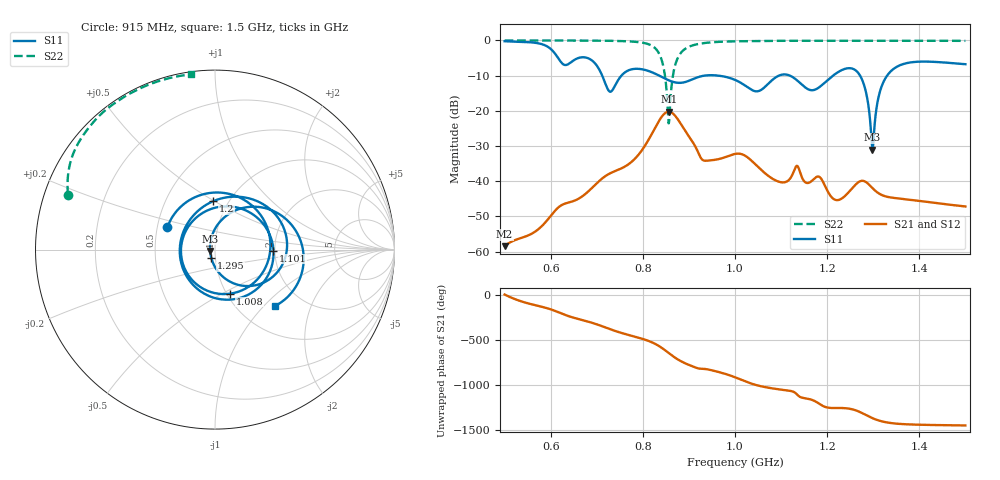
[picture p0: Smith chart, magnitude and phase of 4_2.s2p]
! TOUCHSTONE file generated by CST MICROWAVE STUDIO
! Date and time: Mon Nov 30 09:06:00 2020
! Project name: Scenario_1_Planar_Body_Tissue_Out_of_Line_v2.cst
! Parameters = {dy1=-294.1; L_HA=400; Ltissue=700; MT=2.54; Rad_Dielectric=30; Rad_Lower=7.3; Rad_Upper=30; Wtissue=700; a_HA=580; a_WG=246; b_HA=500; b_WG=121; c_HA=0; c_WG=187; d_feed=85; dx1=346; h_feed=15; h_lower=18; h_upper=40; hfat=3; hgap=25; hmuscle=50; hskin=1.5}
! Header version: 2018
! Port assignment regex: !\s*Touchstone port\s*([0-9]+)\s*=\s*(CST MWS port|CST DS port)\s*([0-9]+|Zmin|Zmax)\s*\(\"(.*)\"\)(\s*mode\s*([0-9]+))?.*
! Touchstone port assignment:
! Touchstone port 1 = CST MWS port 1 ("")
! Touchstone port 2 = CST MWS port 2 ("")
# GHz S DB R 50
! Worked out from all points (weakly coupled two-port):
!   1003 points, 500 MHz to 1.5 GHz, reference 50 ohm
!   highest |S21| = -20.25 dB at 856 MHz (marker M1); lowest = -58.4 dB at 500 MHz (marker M2)
!   lowest |S11| = -31.0 dB at 1.298 GHz (marker M3), VSWR 1.06, Z = 47.4 - j0.671 ohm
!   |S11| at or under -10 dB: 835.5 MHz to 933.6 MHz (98.11 MHz wide, 11.1 % of centre); 963.9 MHz to 1.095 GHz (131.2 MHz wide, 12.7 % of centre); 1.119 GHz to 1.213 GHz (93.51 MHz wide, 8.02 % of centre) (the widest 3 of 5)
!   |S22| runs from -23.6 to 0.0 dB; largest |S21 - S12| = 1.3e-05
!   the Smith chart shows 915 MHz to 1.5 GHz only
!   S11 on the Smith chart (normalised r, x): 915 MHz: 0.57, +0.16; 1.008 GHz: 1.04, -0.55; 1.101 GHz: 1.97, -0.03; 1.2 GHz: 0.85, +0.49; 1.295 GHz: 0.96, -0.09; 1.5 GHz: 1.46, -1.16
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0.5  -0.23 -121.8  -58.44 2.2  -58.44 2.2  -0.01 151.1
0.578  -0.96 -165.1  -53.09 -130.7  -53.09 -130.7  -0.02 145.8
0.667  -4.79 154.4  -44.43 80.6  -44.43 80.6  -0.04 138.3
0.716  -11.35 39.5  -38.78 1.4  -38.78 1.4  -0.09 132.8
0.742  -12.26 -107.2  -36.99 -46.5  -36.99 -46.5  -0.15 128.9
0.772  -8.34 170.7  -34.87 -91.7  -34.87 -91.7  -0.29 122.5
0.834  -9.90 42.9  -23.07 152.3  -23.07 152.3  -3.43 81.4
0.856  -11.31 -13.4  -20.25 72.3  -20.25 72.3  -23.56 -37.0
0.876  -12.04 -73.5  -22.43 -0.1  -22.43 -0.1  -4.92 -169.2
0.915  -10.65 154.5  -30.41 -91.3  -30.41 -91.3  -1.16 159.5
0.963  -9.99 25.9  -33.76 -137.8  -33.76 -137.8  -0.42 146.0
1  -11.20 -52.7  -32.24 161.9  -32.24 161.9  -0.26 140.0
1.008  -11.71 -70.9  -32.16 145.5  -32.16 145.5  -0.24 139.0
1.048  -14.46 167.4  -35.68 72.3  -35.68 72.3  -0.17 134.6
1.101  -9.74 -1.0  -40.31 23.4  -40.31 23.4  -0.11 129.6
1.167  -14.15 175.8  -39.87 -89.8  -39.87 -89.8  -0.10 124.1
1.2  -11.38 92.2  -42.56 -174.3  -42.56 -174.3  -0.09 121.6
1.266  -9.01 -25.6  -40.45 146.3  -40.45 146.3  -0.09 116.6
1.295  -25.66 -112.8  -41.50 73.6  -41.50 73.6  -0.08 114.4
1.298  -31.04 -165.4  -41.90 66.9  -41.90 66.9  -0.08 114.2
1.334  -9.34 44.1  -44.52 15.5  -44.52 15.5  -0.08 111.5
1.5  -6.76 -43.0  -47.16 -14.6  -47.16 -14.6  -0.13 97.9
